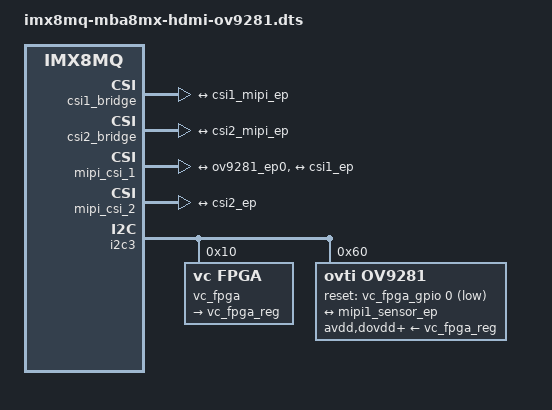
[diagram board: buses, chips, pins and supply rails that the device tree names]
// SPDX-License-Identifier: (GPL-2.0-or-later OR MIT)
/*
 * Copyright 2021 TQ-Systems GmbH
 */

#include "imx8mq-mba8mx-hdmi.dts"

&csi1_bridge {
	fsl,mipi-mode;
	dma-coherent;

	port {
		csi1_ep: endpoint {
			remote-endpoint = <&csi1_mipi_ep>;
		};
	};
};

&csi2_bridge {
	fsl,mipi-mode;
	dma-coherent;

	port {
		csi2_ep: endpoint {
			remote-endpoint = <&csi2_mipi_ep>;
		};
	};
};

&mipi_csi_1 {
	port {
		mipi1_sensor_ep: endpoint1 {
			data-lanes = <1 2>;
			remote-endpoint = <&ov9281_ep0>;
		};

		csi1_mipi_ep: endpoint2 {
			remote-endpoint = <&csi1_ep>;
		};
	};
};

&mipi_csi_2 {
	port {
		mipi2_sensor_ep: endpoint1 {
		};

		csi2_mipi_ep: endpoint2 {
			remote-endpoint = <&csi2_ep>;
		};
	};
};

&i2c3 {
	vc_fpga: vc_fpga@10 {
		reg = <0x10>;
		compatible = "vc,fpga";
		status = "okay";

		vc_fpga_reg: regulator {
			regulator-name = "CAM_VCC";
		};

		vc_fpga_reset: reset {
			#reset-cells = <0>;
		};

		vc_fpga_gpio: gpio-chip {
			gpio-controller;
			#gpio-cells = <2>;
		};
	};

	ov9281: ov9281@60 {
		#address-cells = <0x1>;
		#size-cells = <0x0>;
		reg = <0x60>;

		compatible = "ovti,ov9281";
		status = "okay";

		clock-names = "xvclk";
		clocks = <&ov9281_clk>;

		avdd-supply = <&vc_fpga_reg>;
		dovdd-supply = <&vc_fpga_reg>;
		dvdd-supply = <&vc_fpga_reg>;

		/* NOTE: driver implements a wrong logic! */
		reset-gpios = <&vc_fpga_gpio 0 GPIO_ACTIVE_LOW>;

		port@0 {
			reg = <0>;

			ov9281_ep0: endpoint {
				remote-endpoint = <&mipi1_sensor_ep>;
				data-lanes = <1 2>;
				clock-lanes = <0>;
				clock-noncontinuous = <1>;
				link-frequencies = /bits/ 64 <400000000>;
			};
		};
	};
};

/ {
	ov9281_clk:sony-imx327-clk {
		#clock-cells = <0>;
		compatible = "fixed-clock";
		clock-frequency = <24000000>;
		status = "okay";
	};
};

&mipi_csi_1 {
	status = "okay";

	// https://community.nxp.com/t5/i-MX-Processors/Fixing-base-address-switching-Change-Err-which-occurs-randomly/m-p/902311
	assigned-clock-rates = <
		200000000			/* > mipi bandwidth/8 */
		333000000			/* > pixclk */
		66000000
	>;
};

&csi1_bridge {
	status = "okay";
};

